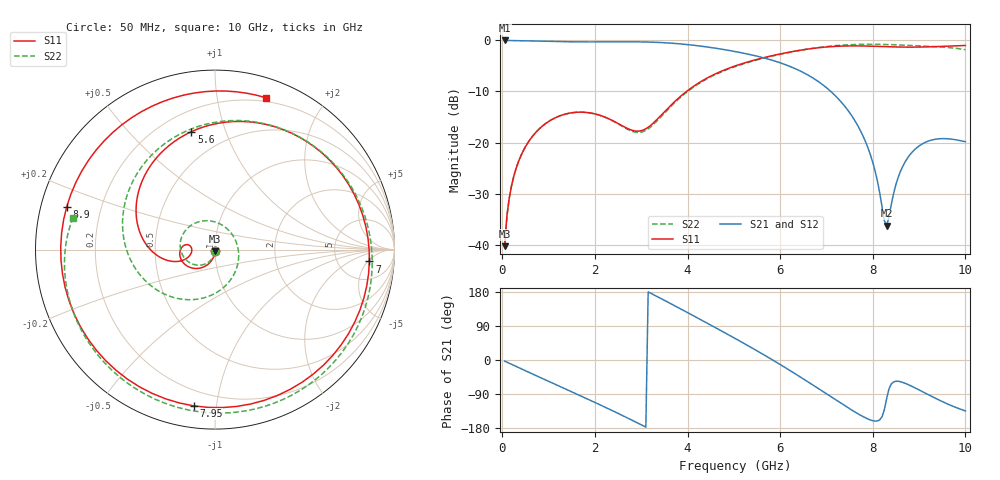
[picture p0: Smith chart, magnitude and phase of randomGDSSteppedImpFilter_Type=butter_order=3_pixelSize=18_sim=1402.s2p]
! freq	dB(S11)	phase(S11)	dB(S12)	phase(S12)
!  dB(S21)	phase(S21)	dB(S22)	phase(S22)
!S-par simulation data
#  GHz  S  DB  R 50
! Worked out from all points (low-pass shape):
!   200 points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, 50 MHz to 10 GHz, reference 50 ohm
!   highest |S21| = -0.01 dB at 50 MHz (marker M1); lowest = -36.3 dB at 8.3 GHz (marker M2)
!   |S21| within 3 dB of the highest: start of sweep to 5.463 GHz
!   lowest |S11| = -40.3 dB at 50 MHz (marker M3), VSWR 1.02, Z = 50 - j0.966 ohm
!   |S11| at or under -10 dB: start of sweep to 3.977 GHz
!   |S22| runs from -40.3 to -0.8 dB; largest |S21 - S12| = 0
!   S11 on the Smith chart (normalised r, x): 50 MHz: 1.00, -0.02; 5.6 GHz: 0.32, +0.77; 7 GHz: 11, -6; 7.95 GHz: 0.11, -0.87; 8.9 GHz: 0.08, +0.14; 10 GHz: 0.17, +1.38
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0.05  -40.29 -91.4  -0.01 -2.9  -0.01 -2.9  -40.30 -92.1
0.1  -34.37 -94.4  -0.01 -5.7  -0.01 -5.7  -34.37 -95.7
0.2  -28.44 -100.0  -0.02 -11.4  -0.02 -11.4  -28.45 -102.6
0.5  -20.83 -115.5  -0.07 -28.3  -0.07 -28.3  -20.83 -122.1
1.15  -15.13 -146.8  -0.21 -64.6  -0.21 -64.6  -15.13 -163.7
1.75  -14.06 -172.3  -0.29 -97.9  -0.29 -97.9  -14.06 155.1
2.7  -17.23 172.3  -0.27 -152.7  -0.27 -152.7  -17.38 61.8
3.4  -14.94 -161.9  -0.40 163.9  -0.40 163.9  -15.22 -52.2
4.25  -8.28 175.5  -1.07 108.7  -1.07 108.7  -8.43 -139.9
5.05  -4.93 134.1  -2.22 55.4  -2.22 55.4  -5.05 155.1
5.6  -3.48 101.3  -3.31 17.2  -3.31 17.2  -3.58 111.4
6.15  -2.38 64.3  -4.87 -23.1  -4.87 -23.1  -2.43 67.5
6.7  -1.57 21.6  -7.32 -65.5  -7.32 -65.5  -1.54 24.1
7  -1.28 -4.4  -9.26 -89.3  -9.26 -89.3  -1.19 1.1
7.4  -1.09 -41.9  -12.94 -120.9  -12.94 -120.9  -0.89 -28.3
7.95  -1.12 -97.7  -22.43 -158.4  -22.43 -158.4  -0.75 -65.7
8.3  -1.23 -134.6  -36.28 -101.5  -36.28 -101.5  -0.80 -87.7
8.35  -1.24 -139.9  -34.58 -76.4  -34.58 -76.4  -0.82 -90.8
8.55  -1.29 -160.8  -26.79 -56.1  -26.79 -56.1  -0.88 -102.8
8.9  -1.31 163.9  -21.43 -72.8  -21.43 -72.8  -1.02 -123.4
9.45  -1.18 113.7  -19.25 -106.7  -19.25 -106.7  -1.28 -156.1
10  -0.99 71.5  -19.84 -134.4  -19.84 -134.4  -1.82 167.3
